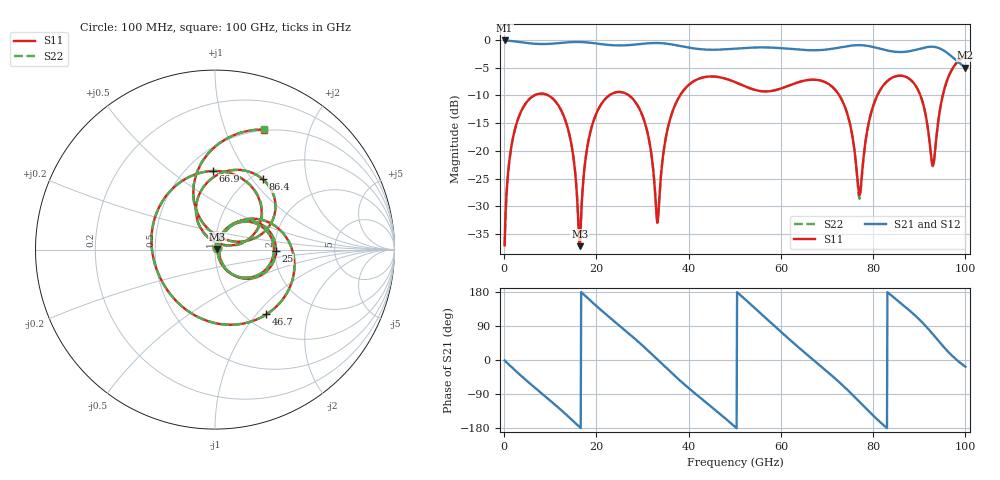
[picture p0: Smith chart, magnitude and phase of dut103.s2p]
! Touchstone file exported from HFSS 2026.1.0
!  File:  C:/ffzhzh/LocalFiles/Ansys_Project_Files/temp_train_TSV_RDL_103_1783633714_33328.aedt
!  Generated:  05:57:43 AM Jul 10, 2026
!  Design:  TSV_RDL
!  Project:  temp_train_TSV_RDL_103_1783633714_33328
! Variables:
!  h_bsmrdl = 4.22um
!  h_ox = 20um
!  h_rdl = 5um
!  h_sub = 86.17um
!  h_tmrdl = 3.43um
!  h_tsv = 86.17um
!  h_via = 3um
!  l_bsmrdl = 657.09um
!  l_sub = 3535.52um
!  l_tmrdl = 248.86um
!  m_sub = 200um
!  pitch = 45.69um
!  r_tsv = 11.79um
!  s_tmrdl = 10um
!  w_bsmrdl = 26.56um
!  w_sub = 500um
!  w_tmrdl = 29.71um
!  x_tsv_center1 = 263.715um
!  x_tsv_center2 = 947.365um
!  x_tsv_center3 = 1225.935um
!  x_tsv_center4 = 1909.585um
!  x_tsv_center5 = 2188.155um
!  x_tsv_center6 = 2871.805um
# GHz S MA R 50.000000
! Terminal data exported
! Port[1] = TM_RDL1_1_T1
! Port[2] = TM_RDL5_1_T1
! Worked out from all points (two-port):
!   1000 points, 100 MHz to 100 GHz, reference 50 ohm
!   highest |S21| = -0.10 dB at 100 MHz (marker M1); lowest = -5.0 dB at 100 GHz (marker M2)
!   |S21| within 3 dB of the highest: start of sweep to 97.19 GHz
!   lowest |S11| = -37.2 dB at 16.4 GHz (marker M3), VSWR 1.03, Z = 51.4 + j0.298 ohm
!   |S11| at or under -10 dB: 9.576 GHz to 22.78 GHz (13.21 GHz wide, 81.6 % of centre); 27.06 GHz to 38.14 GHz (11.08 GHz wide, 34 % of centre); 72.67 GHz to 80.9 GHz (8.235 GHz wide, 10.7 % of centre) (the widest 3 of 5)
!   |S22| runs from -37.0 to -2.8 dB; largest |S21 - S12| = 4.3e-14
!   S11 on the Smith chart (normalised r, x): 100 MHz: 1.02, +0.02; 25 GHz: 2.03, -0.03; 46.7 GHz: 1.23, -1.13; 66.9 GHz: 0.66, +0.72; 86.4 GHz: 1.12, +1.13; 100 GHz: 0.49, +1.37
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0.1  0.01408 35.6  0.9887 -1.2  0.9887 -1.2  0.01408 35.6
! Gamma 0 0 0 0
! Port Impedance 50 0 50 0
2.5  0.1659 54.9  0.9677 -28.7  0.9677 -28.7  0.1659 55.0
7.9  0.3282 1.2  0.9184 -85.7  0.9184 -85.7  0.3282 1.3
13.6  0.1709 -54.7  0.9498 -145.7  0.9498 -145.7  0.1709 -54.4
16.4  0.01385 12.1  0.9577 -177.3  0.9577 -177.3  0.01443 11.7
16.8  0.03214 60.7  0.9565 178.2  0.9565 178.2  0.0324 59.8
19.3  0.1821 54.1  0.9363 150.1  0.9363 150.1  0.1821 54.0
25  0.3398 -1.1  0.891 90.6  0.891 90.6  0.3396 -1.0
30.3  0.1909 -51.8  0.9255 34.8  0.9255 34.8  0.1908 -51.4
33.4  0.02558 26.1  0.9373 -0.7  0.9373 -0.7  0.02665 25.6
37.3  0.2726 39.2  0.8956 -45.2  0.8956 -45.2  0.2729 39.2
46.7  0.4609 -51.5  0.8178 -141.5  0.8178 -141.5  0.461 -51.3
50.1  0.4162 -85.7  0.835 -176.8  0.835 -176.8  0.4164 -85.4
58.3  0.3487 -176.1  0.8512 93.2  0.8512 93.2  0.3486 -176.1
66.7  0.438 93.6  0.8067 3.6  0.8067 3.6  0.4382 93.3
66.9  0.4382 91.7  0.8066 1.6  0.8066 1.6  0.4383 91.3
73.6  0.2662 26.5  0.8675 -69.2  0.8675 -69.2  0.2663 25.8
77  0.03983 63.8  0.8971 -110.0  0.8971 -110.0  0.03716 62.5
83.4  0.4369 83.0  0.7974 176.0  0.7974 176.0  0.4363 83.1
86.4  0.4741 55.9  0.7784 145.8  0.7784 145.8  0.4736 56.0
92.9  0.07387 60.7  0.8683 68.8  0.8683 68.8  0.07269 60.9
100  0.7219 67.9  0.5632 -17.7  0.5632 -17.7  0.722 68.0
